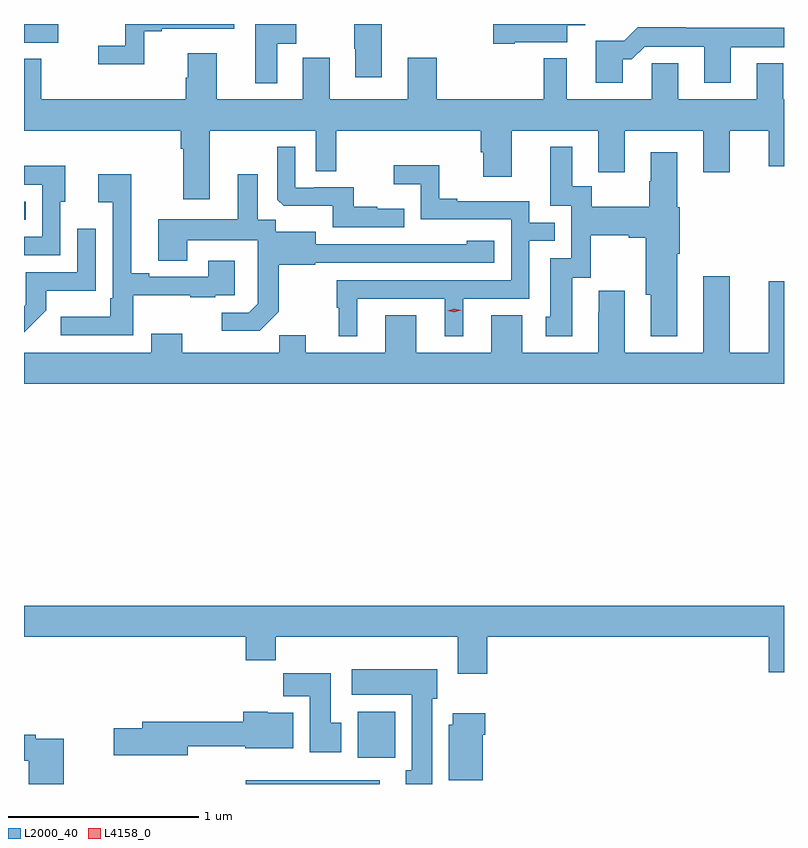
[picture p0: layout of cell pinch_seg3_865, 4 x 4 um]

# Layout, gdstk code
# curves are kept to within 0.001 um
import gdstk
lib = gdstk.Library(unit=1e-6, precision=1e-09)
def R(c, l, rs):  # rectangles x0, y0, x1, y1
    for r in rs: c.add(gdstk.rectangle(r[:2], r[2:], *l))
def P(c, l, *ps):  # polygons
    for p in ps: c.add(gdstk.Polygon(p, *l))
L2000_40 = (2000, 40)
L4158_0 = (4158, 0)

pinch_seg3_865 = lib.new_cell('pinch_seg3_865')
R(pinch_seg3_865, L2000_40, [(737.681,680.161,738.385,680.182), (738.269,680.3,738.466,680.542), (736.513,683.13,736.523,683.226), (736.513,684.063,736.694,684.161)])
P(pinch_seg3_865, L2000_40, [(739.096,684.065),(739.372,684.065),(739.372,684.155),(739.468,684.155),(739.468,684.161),(738.984,684.161),(738.984,684.058),(739.096,684.058)],
  [(737.145,684.123),(737.239,684.123),(737.239,684.135),(737.619,684.135),(737.619,684.161),(737.046,684.161),(737.046,684.046),(736.905,684.046),(736.905,683.948),(737.145,683.948)],
  [(738.397,684.161),(738.25,684.161),(738.25,684.03),(738.257,684.03),(738.257,683.88),(738.397,683.88)],
  [(737.845,684.058),(737.947,684.058),(737.947,684.161),(737.838,684.161),(737.838,684.159),(737.729,684.159),(737.729,683.85),(737.845,683.85)],
  [(739.663,683.975),(739.712,683.975),(739.779,684.042),(740.093,684.042),(740.093,683.853),(740.233,683.853),(740.233,684.039),(740.513,684.039),(740.513,684.14),(739.997,684.14),(739.997,684.143),(739.742,684.143),(739.672,684.073),(739.523,684.073),(739.523,683.853),(739.663,683.853)],
  [(737.491,683.6),(738.048,683.6),(738.048,683.386),(738.157,683.386),(738.157,683.6),(738.917,683.6),(738.917,683.487),(738.929,683.487),(738.929,683.358),(739.081,683.358),(739.081,683.6),(739.535,683.6),(739.535,683.382),(739.675,683.382),(739.675,683.6),(740.087,683.6),(740.087,683.382),(740.227,683.382),(740.227,683.6),(740.432,683.6),(740.432,683.412),(740.513,683.412),(740.513,683.764),(740.509,683.764),(740.509,683.954),(740.369,683.954),(740.369,683.764),(739.957,683.764),(739.957,683.954),(739.818,683.954),(739.818,683.764),(739.369,683.764),(739.369,683.98),(739.248,683.98),(739.248,683.764),(738.686,683.764),(738.686,683.983),(738.533,683.983),(738.533,683.764),(738.121,683.764),(738.121,683.983),(737.981,683.983),(737.981,683.764),(737.527,683.764),(737.527,684.007),(737.375,684.007),(737.375,683.877),(737.363,683.877),(737.363,683.764),(736.603,683.764),(736.603,683.978),(736.513,683.978),(736.513,683.6),(737.339,683.6),(737.339,683.504),(737.351,683.504),(737.351,683.238),(737.491,683.238)],
  [(738.515,683.188),(738.371,683.188),(738.371,683.2),(738.248,683.2),(738.248,683.301),(738.04,683.301),(738.04,683.298),(737.94,683.298),(737.94,683.515),(737.847,683.515),(737.847,683.235),(737.879,683.204),(738.138,683.204),(738.138,683.091),(738.515,683.091)],
  [(739.951,682.952),(739.964,682.952),(739.964,683.196),(739.951,683.196),(739.951,683.485),(739.811,683.485),(739.811,683.334),(739.804,683.334),(739.804,683.2),(739.501,683.2),(739.501,683.306),(739.399,683.306),(739.399,683.515),(739.283,683.515),(739.283,683.205),(739.392,683.205),(739.392,682.929),(739.283,682.929),(739.283,682.62),(739.259,682.62),(739.259,682.518),(739.399,682.518),(739.399,682.826),(739.497,682.826),(739.497,683.048),(739.697,683.048),(739.697,683.036),(739.786,683.036),(739.786,682.737),(739.811,682.737),(739.811,682.517),(739.951,682.517)],
  [(738.268,682.716),(738.728,682.716),(738.728,682.517),(738.826,682.517),(738.826,682.716),(739.173,682.716),(739.173,683.019),(739.307,683.019),(739.307,683.115),(739.173,683.115),(739.173,683.229),(738.793,683.229),(738.793,683.242),(738.699,683.242),(738.699,683.417),(738.459,683.417),(738.459,683.318),(738.6,683.318),(738.6,683.133),(739.077,683.133),(739.077,682.812),(738.159,682.812),(738.159,682.668),(738.17,682.668),(738.17,682.517),(738.268,682.517)],
  [(736.704,683.226),(736.729,683.226),(736.729,683.414),(736.513,683.414),(736.513,683.316),(736.608,683.316),(736.608,683.04),(736.513,683.04),(736.513,682.944),(736.704,682.944)],
  [(737.853,682.647),(737.853,682.893),(738.045,682.893),(738.045,682.905),(738.988,682.905),(738.988,683.02),(738.843,683.02),(738.843,683.002),(738.049,683.001),(738.049,683.068),(737.838,683.068),(737.838,683.132),(737.743,683.132),(737.743,683.371),(737.639,683.371),(737.639,683.134),(737.219,683.134),(737.219,682.915),(737.371,682.915),(737.371,683.024),(737.742,683.024),(737.742,682.783),(737.744,682.783),(737.744,682.688),(737.697,682.641),(737.553,682.641),(737.553,682.547),(737.753,682.547)],
  [(737.089,682.733),(737.387,682.733),(737.387,682.722),(737.519,682.722),(737.519,682.734),(737.623,682.734),(737.623,682.915),(737.483,682.915),(737.483,682.83),(737.173,682.83),(737.173,682.849),(737.077,682.849),(737.077,683.371),(736.905,683.371),(736.905,683.222),(736.98,683.222),(736.98,682.717),(736.968,682.717),(736.968,682.621),(736.707,682.621),(736.707,682.524),(737.089,682.524)],
  [(736.629,682.655),(736.629,682.757),(736.89,682.757),(736.89,683.083),(736.794,683.083),(736.794,682.854),(736.521,682.854),(736.521,682.683),(736.513,682.675),(736.513,682.539)],
  [(740.513,682.807),(740.432,682.807),(740.432,682.432),(740.227,682.432),(740.227,682.834),(740.087,682.834),(740.087,682.432),(739.675,682.432),(739.675,682.756),(739.538,682.756),(739.538,682.643),(739.535,682.643),(739.535,682.432),(739.135,682.432),(739.135,682.627),(738.971,682.627),(738.971,682.432),(738.577,682.432),(738.577,682.627),(738.413,682.627),(738.413,682.432),(737.995,682.432),(737.995,682.523),(737.857,682.523),(737.857,682.432),(737.347,682.432),(737.347,682.531),(737.183,682.531),(737.183,682.432),(736.513,682.432),(736.513,682.268),(740.513,682.268)],
  [(738.95,680.936),(740.432,680.936),(740.432,680.748),(740.513,680.748),(740.513,681.1),(736.513,681.1),(736.513,680.936),(737.681,680.936),(737.681,680.812),(737.837,680.812),(737.837,680.936),(738.797,680.936),(738.797,680.742),(738.95,680.742)],
  [(738.661,680.61),(738.688,680.61),(738.688,680.764),(738.237,680.764),(738.237,680.63),(738.554,680.63),(738.554,680.234),(738.521,680.234),(738.521,680.161),(738.661,680.161)],
  [(738.184,680.484),(738.127,680.484),(738.127,680.743),(737.878,680.743),(737.878,680.624),(738.017,680.624),(738.017,680.328),(738.184,680.328)],
  [(737.374,680.359),(737.678,680.359),(737.678,680.348),(737.929,680.348),(737.929,680.536),(737.796,680.536),(737.796,680.542),(737.666,680.542),(737.666,680.488),(737.135,680.488),(737.135,680.454),(736.986,680.454),(736.986,680.312),(737.374,680.312)],
  [(738.928,680.42),(738.941,680.42),(738.941,680.533),(738.77,680.533),(738.77,680.472),(738.749,680.472),(738.749,680.18),(738.928,680.18)],
  [(736.721,680.4),(736.574,680.4),(736.574,680.42),(736.513,680.42),(736.513,680.284),(736.538,680.284),(736.538,680.161),(736.721,680.161)])
P(pinch_seg3_865, L4158_0, [(738.777,682.643),(738.742,682.652),(738.741,682.652),(738.742,682.653),(738.777,682.663),(738.812,682.655),(738.813,682.655),(738.812,682.654)])

lib.write_gds('pinch_seg3_865.gds')
